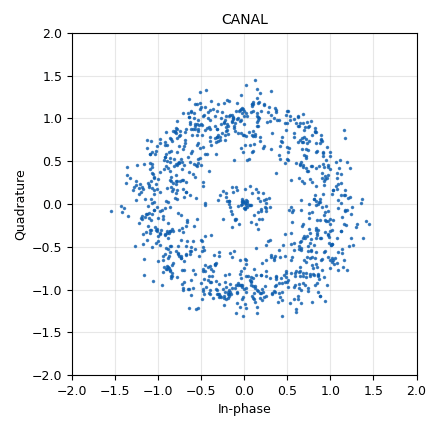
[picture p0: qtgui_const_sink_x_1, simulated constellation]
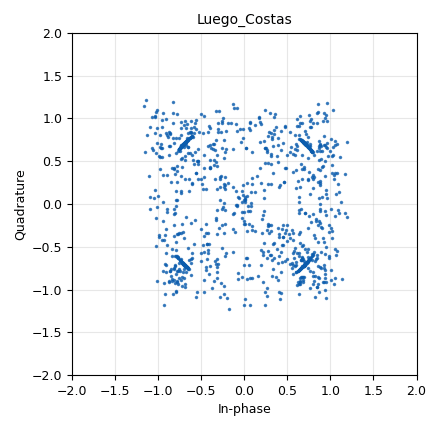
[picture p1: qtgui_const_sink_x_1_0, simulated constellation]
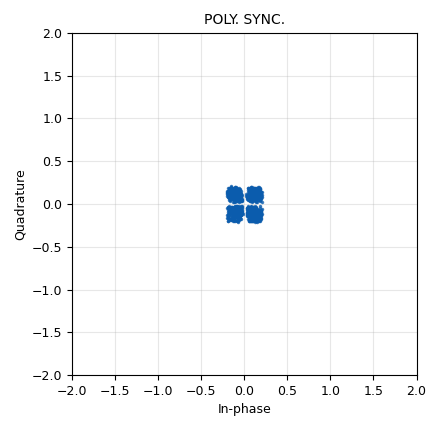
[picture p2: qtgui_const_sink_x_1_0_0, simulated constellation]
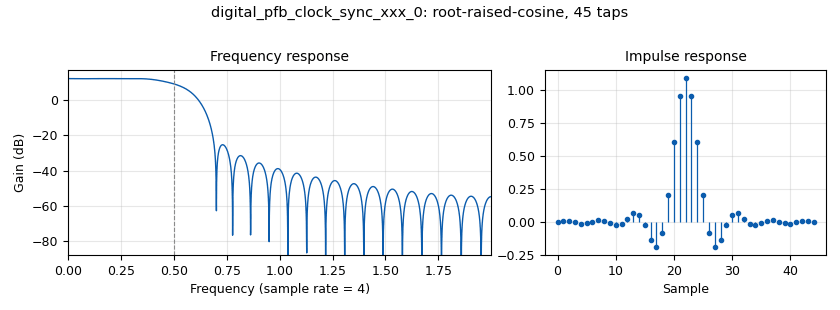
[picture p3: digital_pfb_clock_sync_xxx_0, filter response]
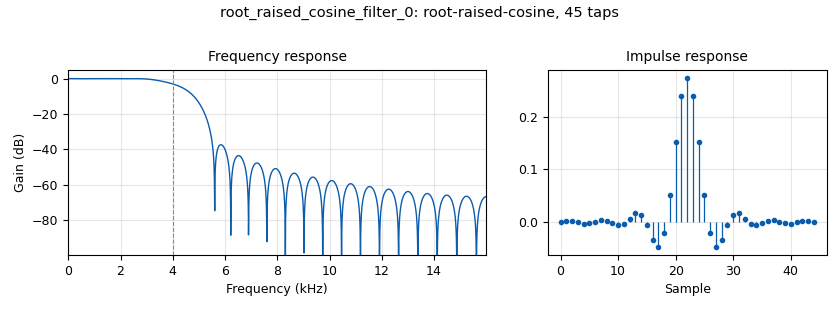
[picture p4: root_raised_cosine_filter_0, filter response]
options:
  parameters:
    author: Gerez
    category: Custom
    comment: https://wiki.gnuradio.org/index.php?title=QPSK_Mod_and_Demod
    generate_options: qt_gui
    id: transmisor
    output_language: python
    title: transmisor
  states: {}

blocks:
- name: excess_bw
  id: variable
  parameters:
    value: '0.35'
  states: {}
- name: freq_offset
  id: variable
  parameters:
    comment: |-
      0.001----32HZ-----por usar samp_rate
      portadora hackRF 915 MHz
    value: '0.001'
  states: {}
- name: noise_amp
  id: variable
  parameters:
    comment: 0.071 ----SNR=20dB
    value: '0.0'
  states: {}
- name: qpsk
  id: variable_constellation_rect
  parameters:
    const_points: '[1+1j, -1+1j, -1-1j, 1-1j]'
    imag_sect: '2'
    real_sect: '2'
    rot_sym: '4'
    sym_map: '[0, 1, 2, 3]'
    w_imag_sect: '1'
    w_real_sect: '1'
  states: {}
- name: rrc_1
  id: variable_rrc_filter_taps
  parameters:
    alpha: '0.35'
    gain: '1.0'
    ntaps: 11*sps
    samp_rate: samp_rate
    sym_rate: samp_rate/sps
  states: {}
- name: samp_rate
  id: variable
  parameters:
    value: '32000'
  states: {}
- name: sps
  id: variable
  parameters:
    value: '4'
  states: {}
- name: analog_random_source_x_0
  id: analog_random_source_x
  parameters:
    max: '256'
    min: '0'
    num_samps: '1024'
    repeat: 'True'
    type: byte
  states: {}
- name: blocks_char_to_float_0
  id: blocks_char_to_float
  parameters:
    scale: '1'
  states: {state: disabled}
- name: blocks_char_to_float_0_0
  id: blocks_char_to_float
  parameters:
    scale: '1'
  states: {state: disabled}
- name: blocks_delay_0
  id: blocks_delay
  parameters:
    delay: '0'
    type: byte
  states: {}
- name: blocks_file_sink_0
  id: blocks_file_sink
  parameters:
    file: rx_data.bin
    type: byte
  states: {state: disabled}
- name: blocks_file_sink_1
  id: blocks_file_sink
  parameters:
    file: tx_data.bin
    type: byte
  states: {state: disabled}
- name: blocks_repack_bits_bb_0
  id: blocks_repack_bits_bb
  parameters:
    endianness: gr.GR_LSB_FIRST
    k: '2'
    l: '8'
  states: {}
- name: blocks_stream_to_tagged_stream_0
  id: blocks_stream_to_tagged_stream
  parameters:
    comment: segmenta en paquetes etiquetados.
    len_tag_key: '"packet_len"'
    packet_len: '128'
    type: byte
  states: {}
- name: blocks_stream_to_tagged_stream_1
  id: blocks_stream_to_tagged_stream
  parameters:
    len_tag_key: '"packet_len"'
    packet_len: '128'
    type: byte
  states: {}
- name: channels_channel_model_0
  id: channels_channel_model
  parameters:
    epsilon: '1.0'
    freq_offset: freq_offset
    noise_voltage: noise_amp
    seed: '0'
    taps: '[1.0]'
  states: {}
- name: digital_constellation_decoder_cb_0
  id: digital_constellation_decoder_cb
  parameters:
    constellation: qpsk
  states: {}
- name: digital_constellation_modulator_0
  id: digital_constellation_modulator
  parameters:
    constellation: qpsk
    differential: 'True'
    excess_bw: excess_bw
    samples_per_symbol: sps
  states: {}
- name: digital_costas_loop_cc_0
  id: digital_costas_loop_cc
  parameters:
    order: '4'
    w: '0.01'
  states: {}
- name: digital_crc32_bb_0
  id: digital_crc32_bb
  parameters:
    check: 'False'
    comment: |-
      agrega CRC basado en la longitud 
      de los paquetes etiquetados.
    lengthtagname: '"packet_len"'
    packed: 'True'
  states: {state: bypassed}
- name: digital_crc32_bb_1
  id: digital_crc32_bb
  parameters:
    check: 'True'
    lengthtagname: '"packet_len"'
    packed: 'True'
  states: {state: bypassed}
- name: digital_pfb_clock_sync_xxx_0
  id: digital_pfb_clock_sync_xxx
  parameters:
    filter_size: '32'
    init_phase: '16'
    loop_bw: '0.01'
    max_dev: '1.5'
    osps: '1'
    sps: sps
    taps: |
      firdes.root_raised_cosine(sps, sps, 1.0, excess_bw, 11*sps)
    type: ccf
  states: {}
- name: digital_symbol_sync_xx_0
  id: digital_symbol_sync_xx
  parameters:
    constellation: qpsk
    damping: '1.0'
    loop_bw: '0.045'
    max_dev: '1.5'
    osps: '1'
    resamp_type: digital.IR_MMSE_8TAP
    sps: sps
    ted_gain: '1.0'
    ted_type: digital.TED_MUELLER_AND_MULLER
    type: cc
  states: {state: disabled}
- name: fec_ber_bf_0
  id: fec_ber_bf
  parameters:
    test_mode: 'False'
  states: {}
- name: fir_filter_xxx_0
  id: fir_filter_xxx
  parameters:
    decim: '1'
    taps: rrc_1
    type: ccc
  states: {state: disabled}
- name: qtgui_const_sink_x_1
  id: qtgui_const_sink_x
  parameters:
    name: '"CANAL"'
    size: '1024'
    type: complex
  states: {}
- name: qtgui_const_sink_x_1_0
  id: qtgui_const_sink_x
  parameters:
    name: '"Luego_Costas"'
    size: '1024'
    type: complex
  states: {}
- name: qtgui_const_sink_x_1_0_0
  id: qtgui_const_sink_x
  parameters:
    name: '"POLY. SYNC."'
    size: '1024'
    type: complex
  states: {}
- name: qtgui_freq_sink_x_1
  id: qtgui_freq_sink_x
  parameters:
    bw: samp_rate
    fc: '0'
    fftsize: '1024'
    type: complex
  states: {state: disabled}
- name: qtgui_number_sink_0
  id: qtgui_number_sink
  parameters:
    graph_type: qtgui.NUM_GRAPH_HORIZ
    name: '"BER_visual"'
    type: float
  states: {}
- name: qtgui_time_sink_x_0
  id: qtgui_time_sink_x
  parameters:
    name: '"antes"'
    size: '500'
    srate: '1'
    type: float
  states: {state: disabled}
- name: qtgui_time_sink_x_0_0
  id: qtgui_time_sink_x
  parameters:
    name: '"despues"'
    size: '500'
    srate: '1'
    type: float
  states: {state: disabled}
- name: qtgui_time_sink_x_1
  id: qtgui_time_sink_x
  parameters:
    size: '1024'
    srate: samp_rate
    type: complex
  states: {state: disabled}
- name: root_raised_cosine_filter_0
  id: root_raised_cosine_filter
  parameters:
    alpha: excess_bw
    decim: '1'
    gain: '1'
    ntaps: 11*sps
    samp_rate: samp_rate
    sym_rate: samp_rate/sps
    type: fir_filter_ccf
  states: {}

connections:
- [analog_random_source_x_0, '0', blocks_stream_to_tagged_stream_0, '0']
- [blocks_char_to_float_0, '0', qtgui_time_sink_x_0, '0']
- [blocks_char_to_float_0_0, '0', qtgui_time_sink_x_0_0, '0']
- [blocks_delay_0, '0', fec_ber_bf_0, '1']
- [blocks_repack_bits_bb_0, '0', blocks_stream_to_tagged_stream_1, '0']
- [blocks_stream_to_tagged_stream_0, '0', blocks_char_to_float_0, '0']
- [blocks_stream_to_tagged_stream_0, '0', blocks_delay_0, '0']
- [blocks_stream_to_tagged_stream_0, '0', digital_crc32_bb_0, '0']
- [blocks_stream_to_tagged_stream_1, '0', digital_crc32_bb_1, '0']
- [channels_channel_model_0, '0', fir_filter_xxx_0, '0']
- [channels_channel_model_0, '0', qtgui_const_sink_x_1, '0']
- [channels_channel_model_0, '0', qtgui_freq_sink_x_1, '0']
- [channels_channel_model_0, '0', qtgui_time_sink_x_1, '0']
- [channels_channel_model_0, '0', root_raised_cosine_filter_0, '0']
- [digital_constellation_decoder_cb_0, '0', blocks_repack_bits_bb_0, '0']
- [digital_constellation_modulator_0, '0', channels_channel_model_0, '0']
- [digital_costas_loop_cc_0, '0', digital_pfb_clock_sync_xxx_0, '0']
- [digital_costas_loop_cc_0, '0', qtgui_const_sink_x_1_0, '0']
- [digital_crc32_bb_0, '0', blocks_file_sink_1, '0']
- [digital_crc32_bb_0, '0', digital_constellation_modulator_0, '0']
- [digital_crc32_bb_1, '0', blocks_char_to_float_0_0, '0']
- [digital_crc32_bb_1, '0', blocks_file_sink_0, '0']
- [digital_crc32_bb_1, '0', fec_ber_bf_0, '0']
- [digital_pfb_clock_sync_xxx_0, '0', digital_constellation_decoder_cb_0, '0']
- [digital_pfb_clock_sync_xxx_0, '0', qtgui_const_sink_x_1_0_0, '0']
- [digital_symbol_sync_xx_0, '0', qtgui_const_sink_x_1, '0']
- [fec_ber_bf_0, '0', qtgui_number_sink_0, '0']
- [fir_filter_xxx_0, '0', digital_symbol_sync_xx_0, '0']
- [root_raised_cosine_filter_0, '0', digital_costas_loop_cc_0, '0']

metadata:
  file_format: 1
  grc_version: 3.10.12.0
